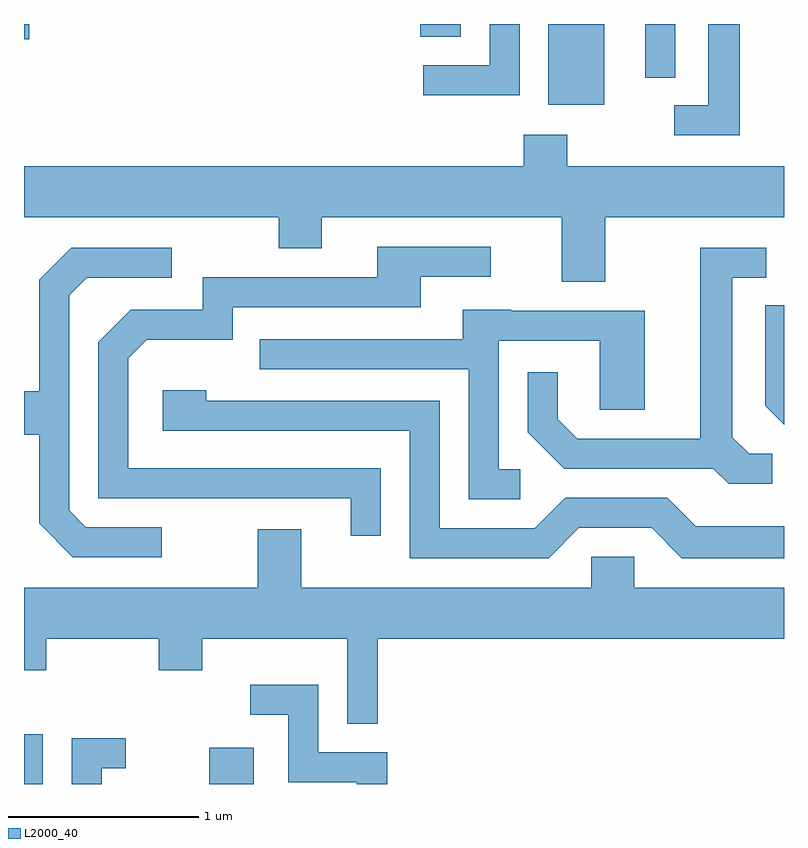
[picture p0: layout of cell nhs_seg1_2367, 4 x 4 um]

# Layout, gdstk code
import gdstk
lib = gdstk.Library(unit=1e-6, precision=1e-09)
def R(c, l, rs):  # rectangles x0, y0, x1, y1
    for r in rs: c.add(gdstk.rectangle(r[:2], r[2:], *l))
def P(c, l, *ps):  # polygons
    for p in ps: c.add(gdstk.Polygon(p, *l))
L2000_40 = (2000, 40)

nhs_seg1_2367 = lib.new_cell('nhs_seg1_2367')
R(nhs_seg1_2367, L2000_40, [(257.611,887.712,257.709,887.974), (258.586,887.712,258.819,887.904), (260.371,891.286,260.664,891.712), (260.881,891.428,261.039,891.712), (257.611,891.631,257.639,891.712), (259.696,891.646,259.909,891.712)])
P(nhs_seg1_2367, L2000_40, [(260.219,891.712),(260.061,891.712),(260.061,891.494),(259.712,891.494),(259.712,891.336),(260.219,891.336)],
  [(261.379,891.712),(261.211,891.712),(261.211,891.284),(261.033,891.284),(261.033,891.126),(261.379,891.126)],
  [(260.669,890.696),(261.611,890.696),(261.611,890.964),(260.469,890.964),(260.469,891.129),(260.241,891.129),(260.241,890.964),(257.611,890.964),(257.611,890.696),(258.951,890.696),(258.951,890.531),(259.179,890.531),(259.179,890.696),(260.441,890.696),(260.441,890.356),(260.669,890.356)],
  [(259.489,889.374),(258.159,889.374),(258.159,889.954),(258.257,890.051),(258.709,890.051),(258.709,890.221),(259.699,890.221),(259.699,890.381),(260.068,890.381),(260.068,890.539),(259.471,890.539),(259.471,890.379),(258.551,890.379),(258.551,890.209),(258.174,890.209),(258.001,890.037),(258.001,889.216),(259.331,889.216),(259.331,889.018),(259.489,889.018)],
  [(261.548,889.449),(261.427,889.449),(261.339,889.537),(261.339,890.376),(261.517,890.376),(261.517,890.534),(261.171,890.534),(261.171,889.529),(260.522,889.529),(260.419,889.632),(260.419,889.878),(260.261,889.878),(260.261,889.564),(260.454,889.371),(261.239,889.371),(261.319,889.291),(261.548,889.291)],
  [(258.337,889.064),(257.937,889.064),(257.849,889.152),(257.849,890.284),(257.942,890.376),(258.388,890.376),(258.388,890.534),(257.859,890.534),(257.691,890.367),(257.691,889.779),(257.611,889.779),(257.611,889.551),(257.691,889.551),(257.691,889.084),(257.868,888.906),(258.337,888.906)],
  [(261.611,890.233),(261.511,890.233),(261.511,889.704),(261.611,889.604)],
  [(260.223,889.369),(260.109,889.369),(260.109,890.046),(260.641,890.046),(260.641,889.681),(260.879,889.681),(260.879,890.204),(260.175,890.204),(260.175,890.209),(259.921,890.209),(259.921,890.054),(258.853,890.054),(258.853,889.896),(259.951,889.896),(259.951,889.211),(260.223,889.211)],
  [(260.532,889.061),(260.914,889.061),(261.074,888.901),(261.611,888.901),(261.611,889.069),(261.147,889.069),(260.997,889.219),(260.459,889.219),(260.299,889.059),(259.799,889.059),(259.799,889.729),(258.569,889.729),(258.569,889.784),(258.341,889.784),(258.341,889.571),(259.641,889.571),(259.641,888.901),(260.372,888.901)],
  [(259.474,888.476),(261.611,888.476),(261.611,888.744),(260.824,888.744),(260.824,888.909),(260.596,888.909),(260.596,888.744),(259.069,888.744),(259.069,889.054),(258.841,889.054),(258.841,888.744),(257.611,888.744),(257.611,888.311),(257.729,888.311),(257.729,888.476),(258.321,888.476),(258.321,888.311),(258.549,888.311),(258.549,888.476),(259.311,888.476),(259.311,888.028),(259.474,888.028)],
  [(259.524,887.879),(259.159,887.879),(259.159,888.234),(258.803,888.234),(258.803,888.076),(259.001,888.076),(259.001,887.721),(259.361,887.721),(259.361,887.712),(259.524,887.712)],
  [(258.019,887.796),(258.147,887.796),(258.147,887.954),(257.861,887.954),(257.861,887.712),(258.019,887.712)])

lib.write_gds('nhs_seg1_2367.gds')
